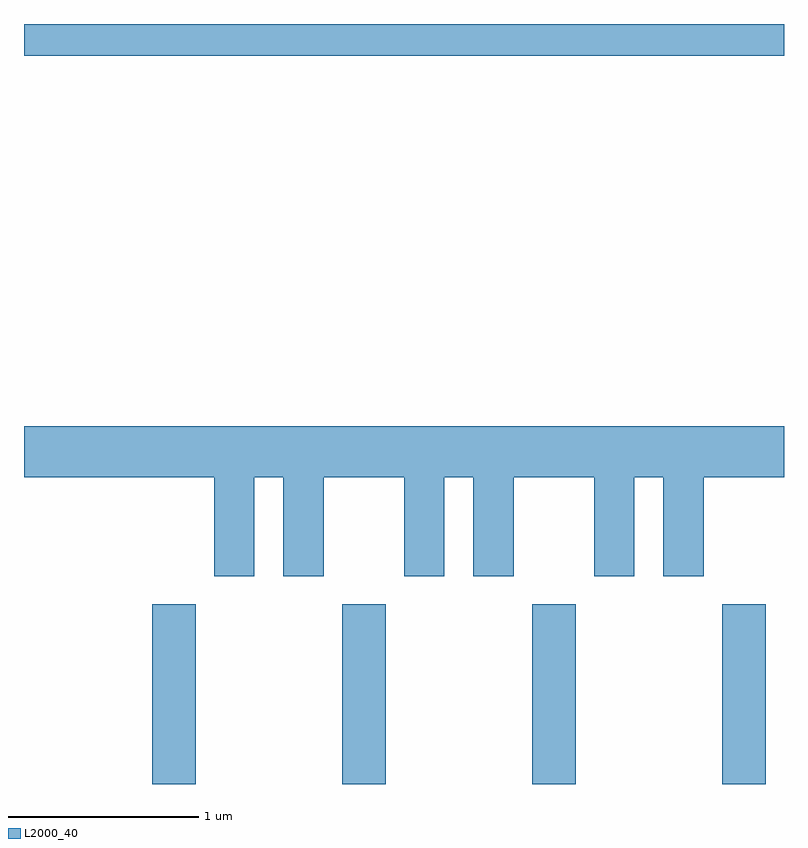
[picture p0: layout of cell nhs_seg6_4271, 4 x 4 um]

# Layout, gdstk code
import gdstk
lib = gdstk.Library(unit=1e-6, precision=1e-09)
def R(c, l, rs):  # rectangles x0, y0, x1, y1
    for r in rs: c.add(gdstk.rectangle(r[:2], r[2:], *l))
def A(c, l, x, y, w, h, nx, ny, dx, dy):  # array of equal rectangles
    R(c, l, [(x+i*dx, y+j*dy, x+i*dx+w, y+j*dy+h) for i in range(nx) for j in range(ny)])
def P(c, l, *ps):  # polygons
    for p in ps: c.add(gdstk.Polygon(p, *l))
L2000_40 = (2000, 40)

nhs_seg6_4271 = lib.new_cell('nhs_seg6_4271')
A(nhs_seg6_4271, L2000_40, 316.286, 1586.162, 0.228, 0.947, 4, 1, 1, 0)
R(nhs_seg6_4271, L2000_40, [(315.611,1589.996,319.611,1590.162)])
P(nhs_seg6_4271, L2000_40, [(316.824,1587.776),(316.976,1587.776),(316.976,1587.256),(317.189,1587.256),(317.189,1587.776),(317.611,1587.776),(317.611,1587.256),(317.824,1587.256),(317.824,1587.776),(317.976,1587.776),(317.976,1587.256),(318.189,1587.256),(318.189,1587.776),(318.611,1587.776),(318.611,1587.256),(318.824,1587.256),(318.824,1587.776),(318.976,1587.776),(318.976,1587.256),(319.189,1587.256),(319.189,1587.776),(319.611,1587.776),(319.611,1588.044),(315.611,1588.044),(315.611,1587.776),(316.611,1587.776),(316.611,1587.256),(316.824,1587.256)])

lib.write_gds('nhs_seg6_4271.gds')
